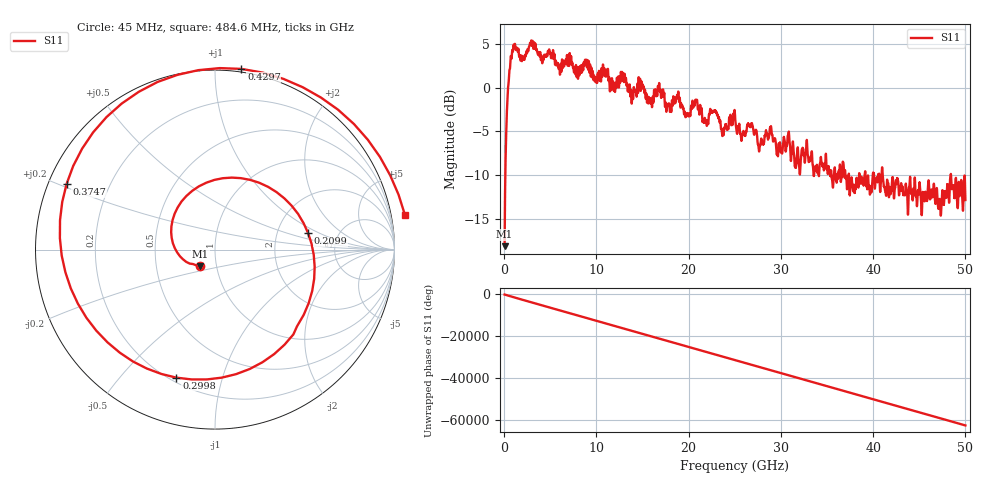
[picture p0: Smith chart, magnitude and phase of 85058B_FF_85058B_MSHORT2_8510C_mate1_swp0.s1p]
!Created with skrf (http://scikit-rf.org).
# Hz S RI R 50.0
!freq ReS11 ImS11
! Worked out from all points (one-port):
!   10001 points, 45 MHz to 50 GHz, reference 50 ohm
!   lowest |S11| = -18.2 dB at 45 MHz (marker M1), VSWR 1.28, Z = 41.8 - j7.87 ohm
!   |S11| at or under -10 dB: 37.38 GHz to 38.47 GHz (1.09 GHz wide, 2.88 % of centre); 41.03 GHz to 48.41 GHz (7.378 GHz wide, 16.5 % of centre); 48.44 GHz to end of sweep (the widest 3 of 19)
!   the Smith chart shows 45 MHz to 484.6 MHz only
!   S11 on the Smith chart (normalised r, x): 45 MHz: 0.84, -0.16; 209.9 MHz: 3.01, +0.77; 299.8 MHz: 0.22, -0.72; 374.7 MHz: 0.05, +0.21; 429.7 MHz: -0.02, +1.16; 484.6 MHz: -4, +9
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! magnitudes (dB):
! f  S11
! 45 MHz  -18.2
! 209.9 MHz  -5.6
! 299.8 MHz  -2.6
! 374.7 MHz  -0.9
! 429.7 MHz  0.2
! 484.6 MHz  0.6
! 794.3 MHz  3.4
! 1.169 GHz  5.0
! 1.978 GHz  3.6
! 3.022 GHz  4.8
! 6.289 GHz  3.1
! 12.53 GHz  1.1
! 15.83 GHz  -1.2
! 16.72 GHz  -0.3
! 17.77 GHz  -1.9
! 18.78 GHz  -1.0
! 19.84 GHz  -3.0
! 20.86 GHz  -1.5
! 21.75 GHz  -3.5
! 22.83 GHz  -2.6
! 23.71 GHz  -5.3
! 25.02 GHz  -3.1
! 31.27 GHz  -6.6
! 37.51 GHz  -11.5
! 43.76 GHz  -14.3
! 47.21 GHz  -12.8
! 48.53 GHz  -11.6
! 50 GHz  -12.9
